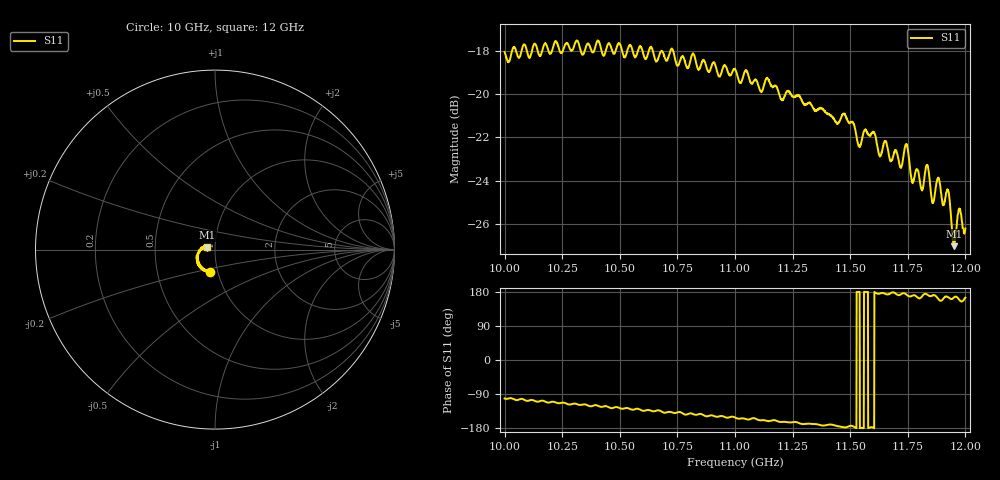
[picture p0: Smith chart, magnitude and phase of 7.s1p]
[Version] 2.0
! Rohde & Schwarz Vector Network Analyzer
! Rohde-Schwarz,ZNL20-2Port,1323001220200009,1.71.1.10-23.02.1.238
! Port Assignments:
! Nominal Port -> Actual Test Port
!  1 -> 1
! Created: GMT 2024-09-04 10:32:37
# Hz S DB R 50
[Number of Ports] 1
! freq[Hz]  S11[mag dB]  S11[ang]
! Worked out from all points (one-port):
!   2001 points, 10 GHz to 12 GHz, reference 50 ohm
!   lowest |S11| = -27.0 dB at 11.95 GHz (marker M1), VSWR 1.09, Z = 45.9 + j1.06 ohm
!   |S11| at or under -10 dB: start of sweep to end of sweep
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[Number of Frequencies] 28
[Network Data]
1e10  -18.04 -101.6
1.025e10  -18.04 -112.6
1.05e10  -17.66 -127.0
1.0659e10  -18.49 -133.6
1.0726e10  -17.88 -138.1
1.075e10  -18.68 -138.3
1.0818e10  -18.10 -142.6
1.0842e10  -18.85 -143.0
1.1e10  -18.82 -151.5
1.125e10  -20.09 -164.0
1.15e10  -21.32 -173.6
1.1539e10  -22.39 179.8
1.1567e10  -21.65 179.1
1.1628e10  -22.86 175.4
1.1653e10  -22.16 174.4
1.1718e10  -23.34 172.4
1.175e10  -22.53 170.0
1.1771e10  -24.09 170.2
1.179e10  -23.47 166.4
1.1812e10  -24.46 167.8
1.1834e10  -23.32 172.6
1.1858e10  -25.02 170.3
1.1881e10  -23.88 162.1
1.1903e10  -25.08 160.5
1.1923e10  -24.45 166.3
1.195e10  -27.04 165.0
1.1973e10  -25.35 159.3
1.2e10  -26.22 164.5
[End]
